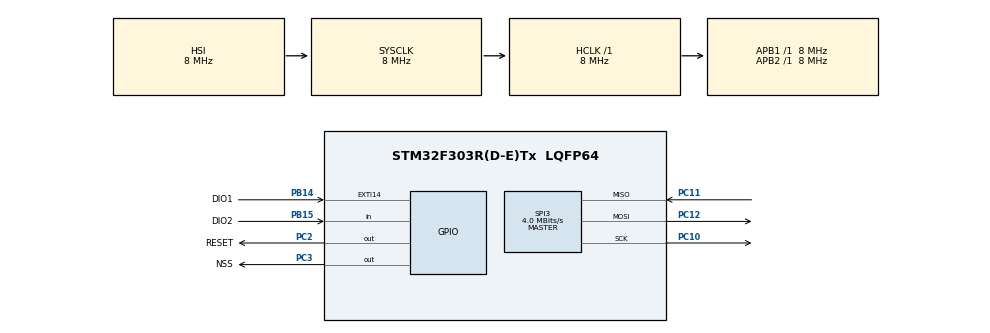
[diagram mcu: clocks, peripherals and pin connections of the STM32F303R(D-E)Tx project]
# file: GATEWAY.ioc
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Dma.Request0=SPI3_RX
Dma.SPI3_RX.0.Direction=DMA_PERIPH_TO_MEMORY
Dma.SPI3_RX.0.Instance=DMA2_Channel1
Dma.SPI3_RX.0.MemDataAlignment=DMA_MDATAALIGN_BYTE
Dma.SPI3_RX.0.MemInc=DMA_MINC_ENABLE
Dma.SPI3_RX.0.Mode=DMA_NORMAL
Dma.SPI3_RX.0.PeriphDataAlignment=DMA_PDATAALIGN_BYTE
Dma.SPI3_RX.0.PeriphInc=DMA_PINC_DISABLE
Dma.SPI3_RX.0.Priority=DMA_PRIORITY_LOW
Mcu.Family=STM32F3
Mcu.Name=STM32F303R(D-E)Tx
Mcu.Package=LQFP64
NVIC.DMA2_Channel1_IRQn=true\:0\:0\:false\:false\:true\:false\:true\:true
NVIC.EXTI15_10_IRQn=true\:0\:0\:false\:false\:true\:true\:true\:true
NVIC.PriorityGroup=NVIC_PRIORITYGROUP_4
NVIC.SPI3_IRQn=true\:0\:0\:false\:false\:true\:true\:true\:true
PA13.Mode=Serial_Wire
PA13.Signal=SYS_JTMS-SWDIO
PA14.Mode=Serial_Wire
PA14.Signal=SYS_JTCK-SWCLK
PB14.GPIO_Label=DIO1
PB14.GPIO_ModeDefaultEXTI=GPIO_MODE_IT_RISING
PB14.GPIO_PuPd=GPIO_NOPULL
PB14.Signal=GPXTI14
PB15.GPIO_Label=DIO2
PB15.Signal=GPIO_Input
PC10.Mode=Full_Duplex_Master
PC10.Signal=SPI3_SCK
PC11.Mode=Full_Duplex_Master
PC11.Signal=SPI3_MISO
PC12.Mode=Full_Duplex_Master
PC12.Signal=SPI3_MOSI
PC2.GPIO_Label=RESET
PC2.Signal=GPIO_Output
PC3.GPIO_Label=NSS
PC3.Signal=GPIO_Output
ProjectManager.HeapSize=0x200
ProjectManager.StackSize=0x400
ProjectManager.TargetToolchain=STM32CubeIDE
RCC.AHBFreq_Value=8000000
RCC.APB1Freq_Value=8000000
RCC.APB2Freq_Value=8000000
RCC.CortexFreq_Value=8000000
RCC.HSE_VALUE=8000000
RCC.HSI_VALUE=8000000
RCC.LSE_VALUE=32768
RCC.SYSCLKFreq_VALUE=8000000
RCC.USBFreq_Value=16000000
SPI3.CalculateBaudRate=4.0 MBits/s
SPI3.Direction=SPI_DIRECTION_2LINES
SPI3.Mode=SPI_MODE_MASTER
SPI3.VirtualType=VM_MASTER
board=custom

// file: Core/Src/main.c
/* USER CODE BEGIN Header */
/**
  ******************************************************************************
  * @file           : main.c
  * @brief          : Main program body
  ******************************************************************************
  * @attention
  *
  * Copyright (c) 2024 STMicroelectronics.
  * All rights reserved.
  *
  * This software is licensed under terms that can be found in the LICENSE file
  * in the root directory of this software component.
  * If no LICENSE file comes with this software, it is provided AS-IS.
  *
  ******************************************************************************
  */
/* USER CODE END Header */
#include "main.h"

/* USER CODE BEGIN Includes */
#include "stdio.h"
#include "string.h"
#include "stdlib.h"

#include "lora.h"

#include "handle.h"

#include "../../RFM/rfm.h"
/* USER CODE END Includes */

SPI_HandleTypeDef hspi3;
DMA_HandleTypeDef hdma_spi3_rx;

/* USER CODE BEGIN PV */
RFM95_HandleTypeDef rfm95w = { 0 };

LORA_HandleTypeDef *lora;

uint8_t irqLoRaFlag = 0;
char id[15] = {0};
char master[15] = {0};
/* USER CODE END PV */

void SystemClock_Config(void);
static void MX_GPIO_Init(void);
static void MX_DMA_Init(void);
static void MX_SPI3_Init(void);

/* USER CODE BEGIN 0 */

void LORA_begin() {
	lora = (LORA_HandleTypeDef*) &rfm95w;

	rfm95w.resetPort = RESET_GPIO_Port;
	rfm95w.resetPin = RESET_Pin;
	rfm95w.nssPort = NSS_GPIO_Port;
	rfm95w.nssPin = NSS_Pin;
	rfm95w.dio1Port = DIO1_GPIO_Port;
	rfm95w.dio1 = DIO1_Pin;
	rfm95w.hspi = &hspi3;

	rfm95w.parent.init = (loraInit) &RFM95_init;
	rfm95w.parent.transmit = (loraTransmit) &RFM95_transmit;
	rfm95w.parent.receive = (loraReceive) &RFM95_receiveContinuous;
	rfm95w.parent.startReceiveIT =
			(loraStartReceiveOnIRQ) &RFM95_startReceiveIT;
	rfm95w.parent.receiveIT = (loraReceiveOnIRQ) &RFM95_receiveIT;
	rfm95w.parent.getRSSI = (loraGetRSSI) &RFM95_getRSSI;

	if (LORA_init(lora) == THT_OK) {
		printf("LORA OK");
	} else {
		printf("LORA ERROR");
	}
}
/**
 * The function CTL_CRC8XOR calculates the XOR checksum of a given array of bytes.
 *
 * @param array An array of uint8_t values that you want to calculate the CRC8 XOR checksum for.
 * @param size The `size` parameter in the `CTL_CRC8XOR` function represents the number of elements in
 * the array that is being passed to the function for calculating the CRC (Cyclic Redundancy Check)
 * value. It indicates the size of the array in terms of the number of elements it contains
 *
 * @return The function `CTL_CRC8XOR` returns a `uint8_t` value, which is the result of XORing all
 * elements in the input array.
 */
uint8_t CTL_CRC8XOR(const uint8_t *array, size_t size) {
	uint8_t value = 0;
	for (size_t i = 0; i < size; i++) {
		value ^= array[i];
	}
	return value;
}

void loraHandle() {
	enum {
		LORA_RESPONSE_SIZE = 4
	};
	uint8_t msgResLoRa[LORA_RESPONSE_SIZE] = { 0 };
	uint8_t messLora[4] = { 4,5,6,7 };

//	char id[CFG_DEVICE_ID_SIZE] = { 0 };
//	char master[CFG_DEVICE_ID_SIZE] = { 0 };
//
//	for (size_t i = 0; i < CFG_DEVICE_ID_SIZE - 1; i++) {
//		id[i] = *(volatile uint8_t*) (CFG_EEPROM_DEVICE_ID + i);
//	}
//
//	for (size_t i = 0; i < CFG_MASTER_ID_SIZE - 1; i++) {
//		master[i] = *(volatile uint8_t*) (CFG_EEPROM_MASTER_ID + i);
//	}

	messLora[0] = CTL_CRC8XOR((uint8_t*) id, strlen(id));
	messLora[1] = CTL_CRC8XOR((uint8_t*) master, strlen(master));
	messLora[2] = 0x01;
	messLora[3] = CTL_CRC8XOR(messLora, 3);

//	LORA_startReceiveIT(lora);
	while(1){

		LORA_receiveIT(lora,msgResLoRa,4);
		LORA_transmit(lora, messLora, 4, 1000);
		HAL_Delay(1000);
	}
//	uint16_t timeStap = HAL_GetTick();
//	while (HAL_GetTick() - timeStap < 60000) {
//		if (irqLoRaFlag) {
//			irqLoRaFlag = 0;
//
//			LORA_transmit(lora, messLora, 4, 1000);
//
//
//			break;
//		}
//	}
}
/* USER CODE END 0 */

int main(void)
{

  /* MCU Configuration--------------------------------------------------------*/

  /* Reset of all peripherals, Initializes the Flash interface and the Systick. */
  HAL_Init();

  /* Configure the system clock */
  SystemClock_Config();

  /* Initialize all configured peripherals */
  MX_GPIO_Init();
  MX_DMA_Init();
  MX_SPI3_Init();
  /* USER CODE BEGIN 2 */
  LORA_begin();

  /* USER CODE END 2 */

  /* Infinite loop */
  /* USER CODE BEGIN WHILE */
  while (1)
  {
	  loraHandle();
    /* USER CODE END WHILE */

  }
}

void SystemClock_Config(void)
{
  RCC_OscInitTypeDef RCC_OscInitStruct = {0};
  RCC_ClkInitTypeDef RCC_ClkInitStruct = {0};

  /** Initializes the RCC Oscillators according to the specified parameters
  * in the RCC_OscInitTypeDef structure.
  */
  RCC_OscInitStruct.OscillatorType = RCC_OSCILLATORTYPE_HSI;
  RCC_OscInitStruct.HSIState = RCC_HSI_ON;
  RCC_OscInitStruct.HSICalibrationValue = RCC_HSICALIBRATION_DEFAULT;
  RCC_OscInitStruct.PLL.PLLState = RCC_PLL_NONE;
  if (HAL_RCC_OscConfig(&RCC_OscInitStruct) != HAL_OK)
  {
    Error_Handler();
  }

  /** Initializes the CPU, AHB and APB buses clocks
  */
  RCC_ClkInitStruct.ClockType = RCC_CLOCKTYPE_HCLK|RCC_CLOCKTYPE_SYSCLK
                              |RCC_CLOCKTYPE_PCLK1|RCC_CLOCKTYPE_PCLK2;
  RCC_ClkInitStruct.SYSCLKSource = RCC_SYSCLKSOURCE_HSI;
  RCC_ClkInitStruct.AHBCLKDivider = RCC_SYSCLK_DIV1;
  RCC_ClkInitStruct.APB1CLKDivider = RCC_HCLK_DIV1;
  RCC_ClkInitStruct.APB2CLKDivider = RCC_HCLK_DIV1;

  if (HAL_RCC_ClockConfig(&RCC_ClkInitStruct, FLASH_LATENCY_0) != HAL_OK)
  {
    Error_Handler();
  }
}

static void MX_SPI3_Init(void)
{

  /* SPI3 parameter configuration*/
  hspi3.Instance = SPI3;
  hspi3.Init.Mode = SPI_MODE_MASTER;
  hspi3.Init.Direction = SPI_DIRECTION_2LINES;
  hspi3.Init.DataSize = SPI_DATASIZE_4BIT;
  hspi3.Init.CLKPolarity = SPI_POLARITY_LOW;
  hspi3.Init.CLKPhase = SPI_PHASE_1EDGE;
  hspi3.Init.NSS = SPI_NSS_SOFT;
  hspi3.Init.BaudRatePrescaler = SPI_BAUDRATEPRESCALER_2;
  hspi3.Init.FirstBit = SPI_FIRSTBIT_MSB;
  hspi3.Init.TIMode = SPI_TIMODE_DISABLE;
  hspi3.Init.CRCCalculation = SPI_CRCCALCULATION_DISABLE;
  hspi3.Init.CRCPolynomial = 7;
  hspi3.Init.CRCLength = SPI_CRC_LENGTH_DATASIZE;
  hspi3.Init.NSSPMode = SPI_NSS_PULSE_ENABLE;
  if (HAL_SPI_Init(&hspi3) != HAL_OK)
  {
    Error_Handler();
  }

}

static void MX_DMA_Init(void)
{

  /* DMA controller clock enable */
  __HAL_RCC_DMA2_CLK_ENABLE();

  /* DMA interrupt init */
  /* DMA2_Channel1_IRQn interrupt configuration */
  HAL_NVIC_SetPriority(DMA2_Channel1_IRQn, 0, 0);
  HAL_NVIC_EnableIRQ(DMA2_Channel1_IRQn);

}

static void MX_GPIO_Init(void)
{
  GPIO_InitTypeDef GPIO_InitStruct = {0};

  /* GPIO Ports Clock Enable */
  __HAL_RCC_GPIOC_CLK_ENABLE();
  __HAL_RCC_GPIOB_CLK_ENABLE();
  __HAL_RCC_GPIOA_CLK_ENABLE();

  /*Configure GPIO pin Output Level */
  HAL_GPIO_WritePin(GPIOC, RESET_Pin|NSS_Pin, GPIO_PIN_RESET);

  /*Configure GPIO pins : RESET_Pin NSS_Pin */
  GPIO_InitStruct.Pin = RESET_Pin|NSS_Pin;
  GPIO_InitStruct.Mode = GPIO_MODE_OUTPUT_PP;
  GPIO_InitStruct.Pull = GPIO_NOPULL;
  GPIO_InitStruct.Speed = GPIO_SPEED_FREQ_LOW;
  HAL_GPIO_Init(GPIOC, &GPIO_InitStruct);

  /*Configure GPIO pin : DIO1_Pin */
  GPIO_InitStruct.Pin = DIO1_Pin;
  GPIO_InitStruct.Mode = GPIO_MODE_IT_RISING;
  GPIO_InitStruct.Pull = GPIO_NOPULL;
  HAL_GPIO_Init(DIO1_GPIO_Port, &GPIO_InitStruct);

  /*Configure GPIO pin : DIO2_Pin */
  GPIO_InitStruct.Pin = DIO2_Pin;
  GPIO_InitStruct.Mode = GPIO_MODE_INPUT;
  GPIO_InitStruct.Pull = GPIO_NOPULL;
  HAL_GPIO_Init(DIO2_GPIO_Port, &GPIO_InitStruct);

  /* EXTI interrupt init*/
  HAL_NVIC_SetPriority(EXTI15_10_IRQn, 0, 0);
  HAL_NVIC_EnableIRQ(EXTI15_10_IRQn);

}

/* USER CODE BEGIN 4 */
void HAL_GPIO_EXTI_Callback(uint16_t GPIO_Pin) {
	/* Wake up MCU from stop mode by any EXTI line */
	if (GPIO_Pin == rfm95w.dio1) {
		/* Set flag to read LoRa message */
		irqLoRaFlag = 1;
	}
}
/* USER CODE END 4 */

void Error_Handler(void)
{
  __disable_irq();
  while (1)
  {
  }
}
